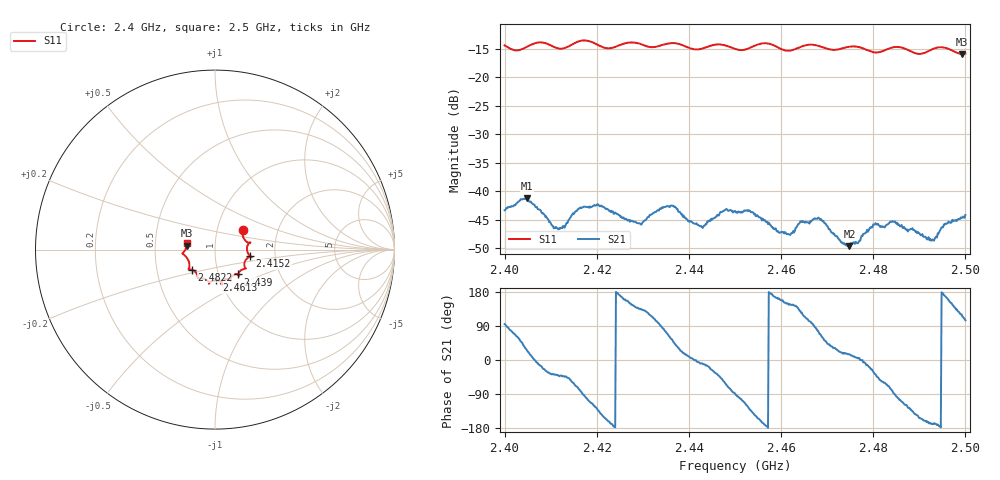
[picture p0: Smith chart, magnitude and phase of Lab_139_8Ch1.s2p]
# Hz S RI R 50
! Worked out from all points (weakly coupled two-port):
!   601 points, 2.4 GHz to 2.5 GHz, reference 50 ohm
!   highest |S21| = -41.24 dB at 2.4048 GHz (marker M1); lowest = -49.7 dB at 2.4748 GHz (marker M2)
!   lowest |S11| = -15.9 dB at 2.4993 GHz (marker M3), VSWR 1.38, Z = 36.3 + j1.62 ohm
!   |S11| at or under -10 dB: start of sweep to end of sweep
!   S12 and S22 are empty: the file has one direction only
!   S11 on the Smith chart (normalised r, x): 2.4 GHz: 1.33, +0.30; 2.4152 GHz: 1.48, -0.11; 2.439 GHz: 1.24, -0.35; 2.4613 GHz: 0.96, -0.34; 2.4822 GHz: 0.76, -0.17; 2.5 GHz: 0.73, +0.05
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2.4e9  0.1548 0.1105  -0.000582 0.00677  0 0  0 0
2.404833e9  0.1801 0.0408  0.00782 0.00374  0 0  0 0
2.411167e9  0.1801 0.0189  0.0038 -0.00303  0 0  0 0
2.415167e9  0.1953 -0.0364  0.00277 -0.00582  0 0  0 0
2.416667e9  0.2048 -0.0424  0.000668 -0.00707  0 0  0 0
2.420667e9  0.1824 -0.0461  -0.00554 -0.00485  0 0  0 0
2.429333e9  0.1647 -0.1067  -0.0037 0.00368  0 0  0 0
2.433333e9  0.1318 -0.1326  -0.000873 0.00677  0 0  0 0
2.4365e9  0.1344 -0.147  0.00471 0.00572  0 0  0 0
2.439e9  0.1277 -0.1383  0.0056 0.00173  0 0  0 0
2.442833e9  0.0919 -0.1524  0.00478 -0.00073  0 0  0 0
2.45e9  0.0685 -0.1636  0.000174 -0.00671  0 0  0 0
2.4535e9  0.036 -0.1794  -0.00455 -0.00467  0 0  0 0
2.461333e9  0.00773 -0.1704  -0.00363 0.00213  0 0  0 0
2.466667e9  -0.0333 -0.1901  -0.000616 0.0055  0 0  0 0
2.468667e9  -0.0345 -0.1819  0.00244 0.00514  0 0  0 0
2.474833e9  -0.0909 -0.1612  0.00318 0.000852  0 0  0 0
2.482167e9  -0.1281 -0.1119  0.00258 -0.00413  0 0  0 0
2.483333e9  -0.1395 -0.1104  0.00187 -0.00485  0 0  0 0
2.492667e9  -0.1722 -0.0297  -0.00361 -0.00073  0 0  0 0
2.499333e9  -0.1584 0.0218  -0.00245 0.00534  0 0  0 0
2.5e9  -0.1577 0.0341  -0.00159 0.00598  0 0  0 0
